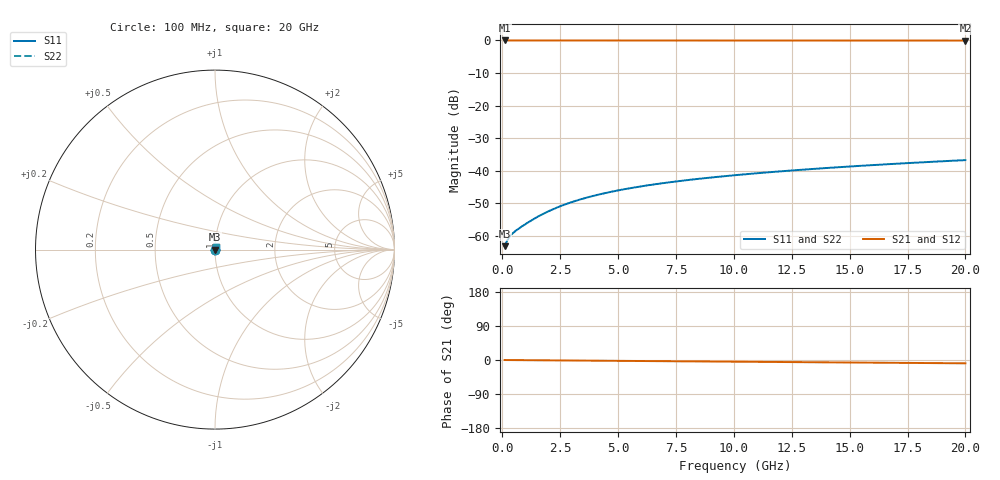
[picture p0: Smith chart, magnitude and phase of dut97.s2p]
! Touchstone file exported from HFSS 2026.1.0
!  File:  C:/ffzhzh/LocalFiles/Ansys_Project_Files/temp_train_TMRDL_97_1782881654_46784.aedt
!  Generated:  12:55:25 PM Jul  1, 2026
!  Design:  TMRDL
!  Project:  temp_train_TMRDL_97_1782881654_46784
! Variables:
!  h_bsmrdl = 2um
!  h_ox = 20um
!  h_rdl = 5um
!  h_sub = 80um
!  h_tmrdl = 4.36um
!  h_tsv = 80um
!  h_via = 3um
!  l_bsmrdl = 300um
!  l_sub = 541.18um
!  l_tmrdl = 141.18um
!  m_sub = 200um
!  pitch = 31.74um
!  r_tsv = 6um
!  s_tmrdl = 10um
!  w_bsmrdl = 18um
!  w_sub = 500um
!  w_tmrdl = 25.88um
!  x_tsv_center1 = 154.12um
!  x_tsv_center2 = 472.12um
!  x_tsv_center3 = 639.18um
!  x_tsv_center4 = 957.18um
!  x_tsv_center5 = 1124.24um
!  x_tsv_center6 = 1442.24um
# GHz S MA R 50.000000
! Terminal data exported
! Port[1] = TM_RDL1_1_T1
! Port[2] = TM_RDL1_1_T2
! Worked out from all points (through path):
!   200 points, 100 MHz to 20 GHz, reference 50 ohm
!   highest |S21| = -0.01 dB at 100 MHz (marker M1); lowest = 0.0 dB at 20 GHz (marker M2)
!   group delay of S21, straight-line fit = 1.21 ps
!   lowest |S11| = -63.2 dB at 100 MHz (marker M3), VSWR 1.00, Z = 50.1 + j0.0219 ohm
!   |S11| at or under -10 dB: start of sweep to end of sweep
!   |S22| runs from -63.2 to -36.7 dB; largest |S21 - S12| = 3.5e-15
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0.1  0.0006952 18.4  0.9993 -0.1  0.9993 -0.1  0.0006952 18.4
! Gamma 0 0 0 0
! Port Impedance 50 0 50 0
0.2  0.0008352 27.1  0.9993 -0.1  0.9993 -0.1  0.0008352 27.1
0.3  0.0009568 31.1  0.9992 -0.1  0.9992 -0.1  0.0009568 31.1
0.4  0.001053 33.9  0.9991 -0.2  0.9991 -0.2  0.001053 33.9
0.5  0.001136 36.5  0.9991 -0.2  0.9991 -0.2  0.001136 36.5
0.7  0.001287 41.3  0.999 -0.3  0.999 -0.3  0.001287 41.3
1.2  0.001683 51.1  0.999 -0.6  0.999 -0.6  0.001683 51.1
1.7  0.002119 57.2  0.9989 -0.8  0.9989 -0.8  0.002119 57.2
2  0.002391 59.5  0.9988 -0.9  0.9988 -0.9  0.002391 59.5
2.3  0.002665 61.2  0.9988 -1.0  0.9988 -1.0  0.002665 61.2
2.9  0.00321 63.4  0.9986 -1.3  0.9986 -1.3  0.00321 63.4
3.5  0.003742 64.5  0.9985 -1.6  0.9985 -1.6  0.003742 64.5
4.2  0.00434 65.1  0.9983 -1.9  0.9983 -1.9  0.00434 65.1
5  0.004992 65.4  0.9981 -2.3  0.9981 -2.3  0.004992 65.4
5.8  0.005612 65.5  0.9979 -2.6  0.9979 -2.6  0.005612 65.5
6.8  0.006348 65.4  0.9977 -3.0  0.9977 -3.0  0.006348 65.4
8.3  0.007392 65.3  0.9973 -3.7  0.9973 -3.7  0.007392 65.3
10.1  0.008579 65.2  0.997 -4.5  0.997 -4.5  0.008579 65.2
11.7  0.009595 65.0  0.9967 -5.2  0.9967 -5.2  0.009595 65.0
13.4  0.01065 64.9  0.9964 -5.9  0.9964 -5.9  0.01065 64.9
16.7  0.01263 64.4  0.996 -7.3  0.996 -7.3  0.01263 64.4
20  0.01456 63.8  0.9955 -8.8  0.9955 -8.8  0.01456 63.8
